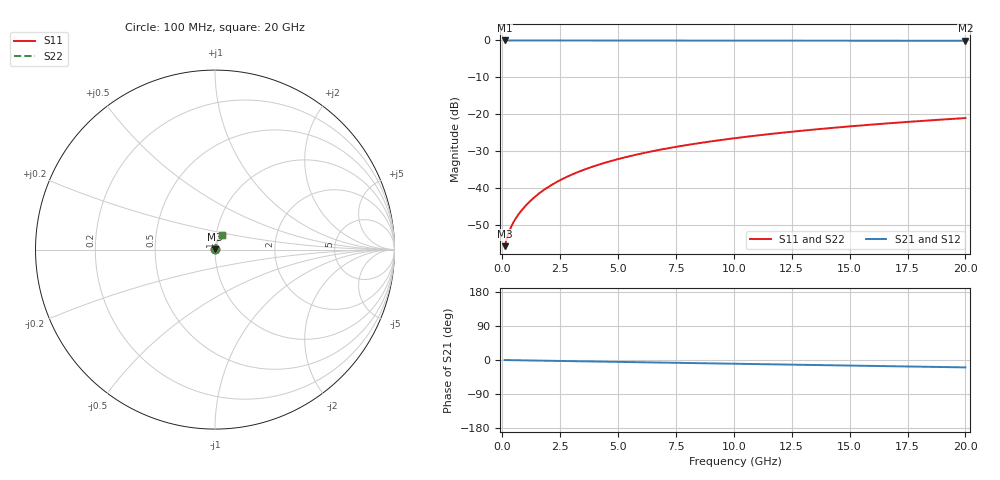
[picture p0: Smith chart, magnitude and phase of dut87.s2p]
! Touchstone file exported from HFSS 2026.1.0
!  File:  C:/ffzhzh/LocalFiles/Ansys_Project_Files/temp_train_BSMRDL_87_1782883162_43084.aedt
!  Generated:  01:20:33 PM Jul  1, 2026
!  Design:  BSMRDL
!  Project:  temp_train_BSMRDL_87_1782883162_43084
! Variables:
!  h_bsmrdl = 3.34um
!  h_ox = 20um
!  h_rdl = 5um
!  h_sub = 80um
!  h_tmrdl = 5um
!  h_tsv = 80um
!  h_via = 3um
!  l_bsmrdl = 312.97um
!  l_sub = 712.97um
!  l_tmrdl = 200um
!  m_sub = 200um
!  pitch = 38.4um
!  r_tsv = 6um
!  s_tmrdl = 10um
!  w_bsmrdl = 28.91um
!  w_sub = 500um
!  w_tmrdl = 12um
!  x_tsv_center1 = 206um
!  x_tsv_center2 = 547.88um
!  x_tsv_center3 = 759.88um
!  x_tsv_center4 = 1101.76um
!  x_tsv_center5 = 1313.76um
!  x_tsv_center6 = 1655.64um
# GHz S MA R 50.000000
! Terminal data exported
! Port[1] = BSM_RDL1_1_T1
! Port[2] = BSM_RDL1_1_T2
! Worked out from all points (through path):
!   200 points, 100 MHz to 20 GHz, reference 50 ohm
!   highest |S21| = -0.01 dB at 100 MHz (marker M1); lowest = -0.1 dB at 20 GHz (marker M2)
!   group delay of S21, straight-line fit = 2.7 ps
!   lowest |S11| = -55.9 dB at 100 MHz (marker M3), VSWR 1.00, Z = 50.1 + j0.0708 ohm
!   |S11| at or under -10 dB: start of sweep to end of sweep
!   |S22| runs from -55.9 to -21.1 dB; largest |S21 - S12| = 3.4e-15
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0.1  0.001611 26.0  0.9986 -0.1  0.9986 -0.1  0.001611 26.0
! Gamma 0 0 0 0
! Port Impedance 50 0 50 0
0.2  0.002076 40.2  0.9984 -0.2  0.9984 -0.2  0.002076 40.2
0.3  0.002569 47.4  0.9983 -0.3  0.9983 -0.3  0.002569 47.4
0.4  0.003035 52.0  0.9981 -0.4  0.9981 -0.4  0.003035 52.0
0.5  0.003479 55.5  0.9981 -0.5  0.9981 -0.5  0.003478 55.4
0.6  0.003913 58.3  0.998 -0.6  0.998 -0.6  0.003912 58.3
0.8  0.00478 62.9  0.9979 -0.8  0.9979 -0.8  0.004779 62.9
1  0.005664 66.3  0.9978 -1.0  0.9978 -1.0  0.005664 66.3
1.2  0.006568 68.9  0.9978 -1.2  0.9978 -1.2  0.006567 68.9
1.7  0.008888 73.0  0.9976 -1.7  0.9976 -1.7  0.008888 73.0
2.2  0.01125 75.2  0.9975 -2.2  0.9975 -2.2  0.01125 75.2
2.8  0.01411 76.6  0.9973 -2.8  0.9973 -2.8  0.01411 76.6
3.5  0.01744 77.3  0.9971 -3.5  0.9971 -3.5  0.01744 77.3
4.2  0.02075 77.5  0.9968 -4.2  0.9968 -4.2  0.02075 77.5
5  0.0245 77.3  0.9964 -5.0  0.9964 -5.0  0.0245 77.3
5.9  0.02866 76.9  0.996 -5.9  0.996 -5.9  0.02866 76.9
6.8  0.03276 76.4  0.9955 -6.8  0.9955 -6.8  0.03276 76.4
8.3  0.03947 75.3  0.9948 -8.2  0.9948 -8.2  0.03947 75.3
10.1  0.04734 73.9  0.9938 -10.0  0.9938 -10.0  0.04734 73.9
13.4  0.06139 71.2  0.9921 -13.2  0.9921 -13.2  0.06139 71.2
16.7  0.07504 68.5  0.9904 -16.3  0.9904 -16.3  0.07503 68.5
20  0.0883 65.7  0.9886 -19.5  0.9886 -19.5  0.08829 65.7
